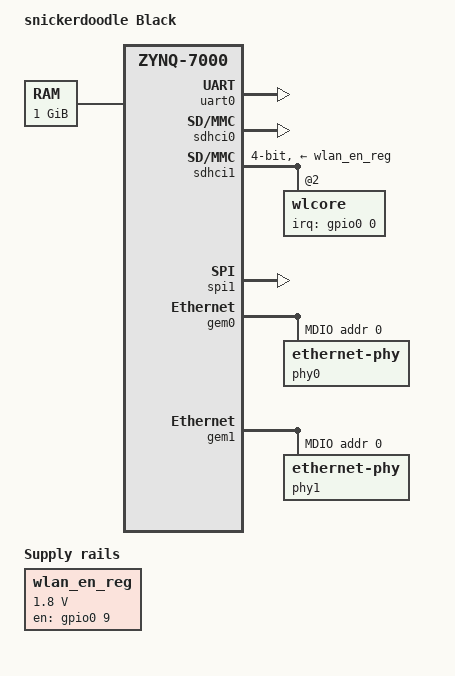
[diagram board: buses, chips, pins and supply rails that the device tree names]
/include/ "system-conf.dtsi"
/include/ "pynq_zynq.dtsi"
/ {
        model = "snickerdoodle Black";
        compatible = "krtkl,snickerdoodle-black", "krtkl,snickerdoodle", "xlnx,zynq-7000";

	reserved-memory {
		#address-cells = <1>;
		#size-cells = <1>;
		ranges;

		reserved@30000000 {
			reg = <0x30000000 0x10000000>;
		};
	};

	memory@0 {
		device_type = "memory";
		reg = <0x0 0x40000000>;
	};

	aliases {
		serial0 = &uart0;
		spi0 = &qspi;
		spi1 = &spi1;
		mmc0 = &sdhci0;
		mmc1 = &sdhci1;
		ethernet0 = &gem0;
		ethernet1 = &gem1;
	};

	wlan_en_reg: fixed-regulator-wlen {
		compatible = "regulator-fixed";
		regulator-name = "wlan-en-regulator";
		regulator-min-microvolt = <1800000>;
		regulator-max-microvolt = <1800000>;
		gpio = <&gpio0 9 4>;
		startup-delay-us = <70000>;
		enable-active-high;
	};

	xlnk {
		compatible = "xlnx,xlnk-1.0";
		clock-names = "clk50", "clk100", "clk150", "clk200";
		clocks = <&clkc 15>, <&clkc 16>, <&clkc 17>, <&clkc 18>;
	};
};

&clkc {
	ps-clk-frequency = <33333333>;
};

&uart0 {
	status = "okay";
};

&sdhci0 {
	status = "okay";
};

&sdhci1 {
	status = "okay";
	vmmc-supply = <&wlan_en_reg>;
	bus-width = <4>;
	cap-power-off-card;
	keep-power-in-suspend;
	#address-cells = <1>;
	#size-cells = <0>;	

	wlcore: wlcore@0 {
		reg = <2>;
		interrupt-parent = <&gpio0>;
		interrupts = <0 4>;
	};
};

&spi1 {
	status = "okay";
	num-cs = <1>;
};

&gem0 {
	mdio {
		phy0: ethernet-phy@0 {
			reg = <0>;
			device_type = "ethernet-phy";
		};
	};
};

&gem1 {
	mdio {
		phy1: ethernet-phy@1 {
			reg = <0>;
			device_type = "ethernet-phy";
		};
	};
};

&wlcore {
	compatible = "wlcore", "ti,wl1837";
};

